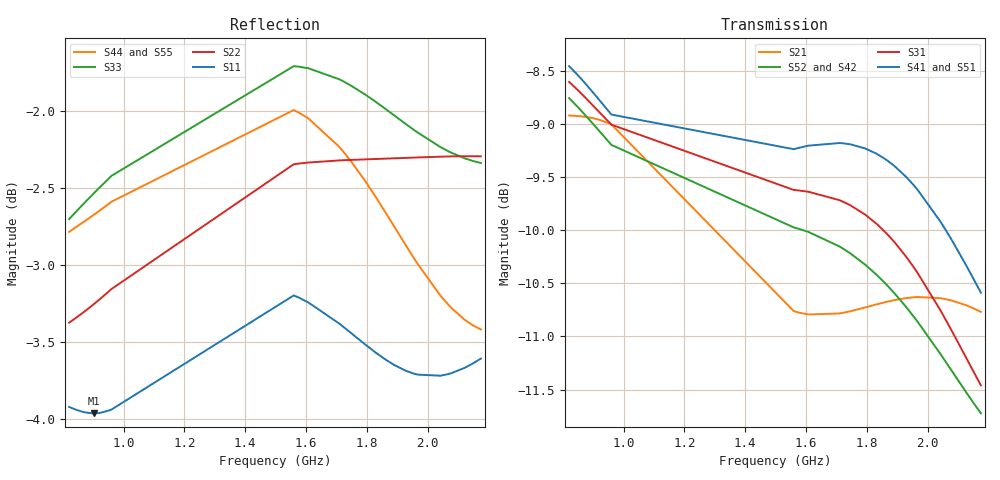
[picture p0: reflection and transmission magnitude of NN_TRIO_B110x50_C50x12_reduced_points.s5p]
! IGNION VIRTUAL ANTENNA LIBRARY
! NN_TRIO_B110x50_C50x12
! Virtual Antenna™ TRIO mXTEND™: NN03-310 30.0mm x 3.0mm x 1.0mm
! https://ignion.io/product/trio-mxtend/
! Board: 110mm x 50mm
! Clearance Area: 50mm x 12mm
! Feeding line: straight line; 9mm x 1mm
! Applications: Smartphone, Fleet management, IoT
! Frequency range 0.65GHz to 6GHz, step ~5MHz
! Number of ports 5
! This product and its use are protected by at least one or more of the following patents and
! patent applications PAT. US 2020/0176855 A1; WO 2019/008171 A1; and other domestic and international
! patents pending. Additional information about patents related to this product is available at
! https://ignion.io/files/Patent-list-NN.pdf, all rights reserved. Copyright, Ignion 2021.
! Need more help? Your platform is much different than these examples in the manual? Use our
! Fast Track service (https://ignion.io/fast-track/), for free, and get a personalized antenna design in
! just 24 hours.
! Touchstone port 1 = CST MWS port 1 ("Series Feeding Port 1")
! Touchstone port 2 = CST MWS port 2 ("Series in-Trio Port 1")
! Touchstone port 3 = CST MWS port 3 ("Series in-Trio Port 2")
! Touchstone port 4 = CST MWS port 4 ("Series Port in Feeding line of Port 2")
! Touchstone port 5 = CST MWS port 5 ("Series Feeding Port 2")
! CST MICROWAVE STUDIO 2019
# GHz S MA R 50
! Nport = 5
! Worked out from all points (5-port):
!   29 points, 821.2 MHz to 2.175 GHz, reference 50 ohm
!   strongest paths, dB at 821.2 MHz, 955 MHz, 1.725 GHz, 1.955 GHz, 2.175 GHz:
!     S41: -8.5, -8.9, -9.2, -9.6, -10.6
!     S51: -8.4, -8.9, -9.2, -9.5, -10.6
!     S31: -8.6, -9.0, -9.7, -10.4, -11.5
!     S52: -8.8, -9.2, -10.2, -10.8, -11.7
!     S42: -8.8, -9.2, -10.3, -11.0, -12.0
!     S21: -8.9, -9.0, -10.8, -10.6, -10.8
!   lowest |S11| = -4.0 dB at 901.5 MHz (marker M1), VSWR 4.46, Z = 222 - j13 ohm
!   |S11| at or under -10 dB: nowhere
